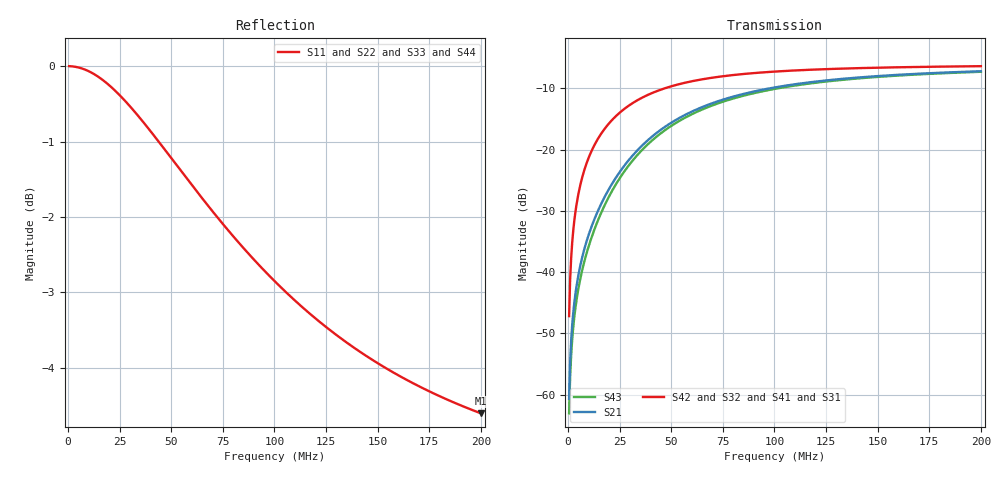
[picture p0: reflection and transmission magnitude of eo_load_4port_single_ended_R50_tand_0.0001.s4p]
! Created with skrf 2.0.1 (http://scikit-rf.org).
# Hz S RI R 50.0
!freq ReS11 ImS11 ReS12 ImS12 ReS13 ImS13
! ReS14 ImS14
! ReS21 ImS21 ReS22 ImS22 ReS23 ImS23
! ReS24 ImS24
! ReS31 ImS31 ReS32 ImS32 ReS33 ImS33
! ReS34 ImS34
! ReS41 ImS41 ReS42 ImS42 ReS43 ImS43
! ReS44 ImS44
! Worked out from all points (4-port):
!   400 points, 500 kHz to 200 MHz, reference 50 ohm
!   strongest paths, dB at 500 kHz, 50.5 MHz, 100.5 MHz, 150.5 MHz, 200 MHz:
!     S42: -47.2, -9.6, -7.2, -6.6, -6.4
!     S32: -47.2, -9.6, -7.2, -6.6, -6.4
!     S41: -47.2, -9.6, -7.2, -6.6, -6.4
!     S31: -47.2, -9.6, -7.2, -6.6, -6.4
!     S21: -60.7, -15.5, -9.8, -8.0, -7.2
!     S43: -63.0, -16.0, -10.0, -8.1, -7.3
!   lowest |S11| = -4.6 dB at 200 MHz (marker M1), VSWR 3.86, Z = 17.1 - j27.1 ohm
!   |S11| at or under -10 dB: nowhere
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500000  0.9999 -0.00968  -1.01e-05 0.000925  3.88e-05 0.00438  3.88e-05 0.00438
        -1.01e-05 0.000925  0.9999 -0.00968  3.88e-05 0.00438  3.88e-05 0.00438
        3.88e-05 0.00438  3.88e-05 0.00438  0.9999 -0.00946  -1.24e-05 0.000705
        3.88e-05 0.00438  3.88e-05 0.00438  -1.24e-05 0.000705  0.9999 -0.00946
1500000  0.9994 -0.029  -9.15e-05 0.00278  0.000346 0.0131  0.000346 0.0131
         -9.15e-05 0.00278  0.9994 -0.029  0.000346 0.0131  0.000346 0.0131
         0.000346 0.0131  0.000346 0.0131  0.9994 -0.0284  -0.000112 0.00212
         0.000346 0.0131  0.000346 0.0131  -0.000112 0.00212  0.9994 -0.0284
3000000  0.9976 -0.058  -0.000364 0.00559  0.00138 0.0262  0.00138 0.0262
         -0.000364 0.00559  0.9976 -0.058  0.00138 0.0262  0.00138 0.0262
         0.00138 0.0262  0.00138 0.0262  0.9977 -0.0567  -0.000447 0.00427
         0.00138 0.0262  0.00138 0.0262  -0.000447 0.00427  0.9977 -0.0567
9500000  0.9765 -0.1807  -0.00342 0.0188  0.0135 0.0809  0.0135 0.0809
         -0.00342 0.0188  0.9765 -0.1807  0.0135 0.0809  0.0135 0.0809
         0.0135 0.0809  0.0135 0.0809  0.9773 -0.1766  -0.00422 0.0147
         0.0135 0.0809  0.0135 0.0809  -0.00422 0.0147  0.9773 -0.1766
4.25e7  0.6529 -0.6141  -0.00936 0.1351  0.1783 0.2395  0.1783 0.2395
        -0.00936 0.1351  0.6529 -0.6141  0.1783 0.2395  0.1783 0.2395
        0.1783 0.2395  0.1783 0.2395  0.6644 -0.6035  -0.0209 0.1246
        0.1783 0.2395  0.1783 0.2395  -0.0209 0.1246  0.6644 -0.6035
1.105e8  0.0267 -0.6976  0.1841 0.2898  0.3946 0.2039  0.3946 0.2039
         0.1841 0.2898  0.0267 -0.6976  0.3946 0.2039  0.3946 0.2039
         0.3946 0.2039  0.3946 0.2039  0.0475 -0.7005  0.1633 0.2927
         0.3946 0.2039  0.3946 0.2039  0.1633 0.2927  0.0475 -0.7005
2e8  -0.2804 -0.5177  0.3558 0.2537  0.4623 0.132  0.4623 0.132
     0.3558 0.2537  -0.2804 -0.5177  0.4623 0.132  0.4623 0.132
     0.4623 0.132  0.4623 0.132  -0.2675 -0.528  0.3429 0.264
     0.4623 0.132  0.4623 0.132  0.3429 0.264  -0.2675 -0.528
